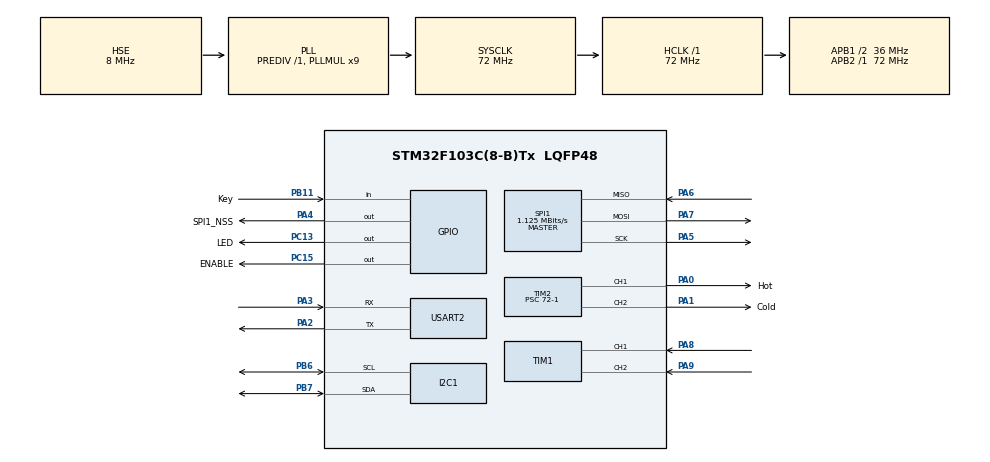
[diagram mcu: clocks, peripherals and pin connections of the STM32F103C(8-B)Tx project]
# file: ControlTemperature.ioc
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FREERTOS.Tasks01=OledTask,8,128,StartOledTask,As weak,NULL,Dynamic,NULL,NULL;PIDTask,40,128,StartPIDTask,As weak,NULL,Dynamic,NULL,NULL;CountTask,47,128,StartCountTask,As weak,NULL,Dynamic,NULL,NULL
I2C1.I2C_Mode=I2C_Fast
Mcu.Family=STM32F1
Mcu.Name=STM32F103C(8-B)Tx
Mcu.Package=LQFP48
NVIC.PriorityGroup=NVIC_PRIORITYGROUP_4
NVIC.TIM4_IRQn=true\:15\:0\:false\:false\:true\:false\:false\:true\:true
NVIC.TimeBase=TIM4_IRQn
NVIC.TimeBaseIP=TIM4
PA0-WKUP.GPIO_Label=Hot
PA0-WKUP.Signal=S_TIM2_CH1_ETR
PA1.GPIO_Label=Cold
PA1.Signal=S_TIM2_CH2
PA13.Mode=Serial_Wire
PA13.Signal=SYS_JTMS-SWDIO
PA14.Mode=Serial_Wire
PA14.Signal=SYS_JTCK-SWCLK
PA2.Mode=Asynchronous
PA2.Signal=USART2_TX
PA3.Mode=Asynchronous
PA3.Signal=USART2_RX
PA4.GPIO_Label=SPI1_NSS
PA4.Signal=GPIO_Output
PA5.Mode=Full_Duplex_Master
PA5.Signal=SPI1_SCK
PA6.GPIO_PuPd=GPIO_PULLUP
PA6.Mode=Full_Duplex_Master
PA6.Signal=SPI1_MISO
PA7.Mode=Full_Duplex_Master
PA7.Signal=SPI1_MOSI
PA8.GPIO_PuPd=GPIO_PULLUP
PA8.Signal=S_TIM1_CH1
PA9.GPIO_PuPd=GPIO_PULLUP
PA9.Signal=S_TIM1_CH2
PB11.GPIO_Label=Key
PB11.GPIO_PuPd=GPIO_PULLUP
PB11.Signal=GPIO_Input
PB6.Mode=I2C
PB6.Signal=I2C1_SCL
PB7.Mode=I2C
PB7.Signal=I2C1_SDA
PC13-TAMPER-RTC.GPIO_Label=LED
PC13-TAMPER-RTC.Signal=GPIO_Output
PC15-OSC32_OUT.GPIO_Label=ENABLE
PC15-OSC32_OUT.PinState=GPIO_PIN_SET
PC15-OSC32_OUT.Signal=GPIO_Output
PD0-OSC_IN.Mode=HSE-External-Oscillator
PD0-OSC_IN.Signal=RCC_OSC_IN
PD1-OSC_OUT.Mode=HSE-External-Oscillator
PD1-OSC_OUT.Signal=RCC_OSC_OUT
ProjectManager.HeapSize=0x200
ProjectManager.StackSize=0x400
ProjectManager.TargetToolchain=CMake
RCC.AHBFreq_Value=72000000
RCC.APB1CLKDivider=RCC_HCLK_DIV2
RCC.APB1Freq_Value=36000000
RCC.APB1TimFreq_Value=72000000
RCC.APB2Freq_Value=72000000
RCC.APB2TimFreq_Value=72000000
RCC.HCLKFreq_Value=72000000
RCC.PLLMUL=RCC_PLL_MUL9
RCC.PLLSourceVirtual=RCC_PLLSOURCE_HSE
RCC.SYSCLKFreq_VALUE=72000000
RCC.SYSCLKSource=RCC_SYSCLKSOURCE_PLLCLK
RCC.USBFreq_Value=72000000
SH.S_TIM1_CH1.0=TIM1_CH1,Encoder_Interface
SH.S_TIM1_CH2.0=TIM1_CH2,Encoder_Interface
SH.S_TIM2_CH1_ETR.0=TIM2_CH1,PWM Generation1 CH1
SH.S_TIM2_CH2.0=TIM2_CH2,PWM Generation2 CH2
SPI1.BaudRatePrescaler=SPI_BAUDRATEPRESCALER_64
SPI1.CalculateBaudRate=1.125 MBits/s
SPI1.Direction=SPI_DIRECTION_2LINES
SPI1.Mode=SPI_MODE_MASTER
SPI1.VirtualType=VM_MASTER
TIM1.EncoderMode=TIM_ENCODERMODE_TI12
TIM1.IC1Filter=15
TIM1.IC2Filter=15
TIM2.Channel-PWM\ Generation1\ CH1=TIM_CHANNEL_1
TIM2.Channel-PWM\ Generation2\ CH2=TIM_CHANNEL_2
TIM2.Period=1000-1
TIM2.Prescaler=72-1
USART2.VirtualMode=VM_ASYNC
VP_FREERTOS_VS_CMSIS_V2.Mode=CMSIS_V2
VP_SYS_VS_tim4.Mode=TIM4
VP_TIM2_VS_ClockSourceINT.Mode=Internal
board=custom

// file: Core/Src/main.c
/* USER CODE BEGIN Header */
/**
  ******************************************************************************
  * @file           : main.c
  * @brief          : Main program body
  ******************************************************************************
  * @attention
  *
  * Copyright (c) 2026 STMicroelectronics.
  * All rights reserved.
  *
  * This software is licensed under terms that can be found in the LICENSE file
  * in the root directory of this software component.
  * If no LICENSE file comes with this software, it is provided AS-IS.
  *
  ******************************************************************************
  */
/* USER CODE END Header */
#include "main.h"

#include <stdio.h>

#include "cmsis_os.h"
#include "i2c.h"
#include "spi.h"
#include "tim.h"
#include "usart.h"
#include "gpio.h"

/* USER CODE BEGIN PV */
volatile uint8_t targetTemp = 40;
volatile double realTemp = 0.00;
PID_TypeDef pid;
/* USER CODE END PV */

void SystemClock_Config(void);
void MX_FREERTOS_Init(void);

/* USER CODE BEGIN 0 */
int _write(int file, char *ptr, int len) {
  // HAL_MAX_DELAY 表示一直等待直到发送完成
  HAL_UART_Transmit(&huart2, (uint8_t*)ptr, len, HAL_MAX_DELAY);
  return len;
}

void Project_Init()
{
  HAL_Delay(20);
  OLED_Init();

  MAX31855_Init(&MAX31855_Handle, &hspi1,SPI1_NSS_GPIO_Port, SPI1_NSS_Pin);

  HAL_TIM_Encoder_Start(&htim1, TIM_CHANNEL_ALL);

  HAL_TIM_PWM_Start(&htim2, TIM_CHANNEL_1);
  HAL_TIM_PWM_Start(&htim2, TIM_CHANNEL_2);

  __HAL_TIM_SET_COMPARE(&htim2, TIM_CHANNEL_1, 0);
  __HAL_TIM_SET_COMPARE(&htim2, TIM_CHANNEL_2, 0);

  PID_Init();
  HAL_Delay(500);                   // 等待温度均匀

}
/* USER CODE END 0 */

int main(void)
{

  /* USER CODE BEGIN 1 */
  setvbuf(stdout, NULL, _IONBF, 0);
  /* USER CODE END 1 */

  /* MCU Configuration--------------------------------------------------------*/

  /* Reset of all peripherals, Initializes the Flash interface and the Systick. */
  HAL_Init();

  /* Configure the system clock */
  SystemClock_Config();

  /* Initialize all configured peripherals */
  MX_GPIO_Init();
  MX_I2C1_Init();
  MX_TIM1_Init();
  MX_SPI1_Init();
  MX_TIM2_Init();
  MX_USART2_UART_Init();
  /* USER CODE BEGIN 2 */
  Project_Init();
  /* USER CODE END 2 */

  /* Init scheduler */
  osKernelInitialize();  /* Call init function for freertos objects (in cmsis_os2.c) */
  MX_FREERTOS_Init();

  /* Start scheduler */
  osKernelStart();

  /* We should never get here as control is now taken by the scheduler */

  /* Infinite loop */
  while (1)
  {

  }
}

void SystemClock_Config(void)
{
  RCC_OscInitTypeDef RCC_OscInitStruct = {0};
  RCC_ClkInitTypeDef RCC_ClkInitStruct = {0};

  /** Initializes the RCC Oscillators according to the specified parameters
  * in the RCC_OscInitTypeDef structure.
  */
  RCC_OscInitStruct.OscillatorType = RCC_OSCILLATORTYPE_HSE;
  RCC_OscInitStruct.HSEState = RCC_HSE_ON;
  RCC_OscInitStruct.HSEPredivValue = RCC_HSE_PREDIV_DIV1;
  RCC_OscInitStruct.HSIState = RCC_HSI_ON;
  RCC_OscInitStruct.PLL.PLLState = RCC_PLL_ON;
  RCC_OscInitStruct.PLL.PLLSource = RCC_PLLSOURCE_HSE;
  RCC_OscInitStruct.PLL.PLLMUL = RCC_PLL_MUL9;
  if (HAL_RCC_OscConfig(&RCC_OscInitStruct) != HAL_OK)
  {
    Error_Handler();
  }

  /** Initializes the CPU, AHB and APB buses clocks
  */
  RCC_ClkInitStruct.ClockType = RCC_CLOCKTYPE_HCLK|RCC_CLOCKTYPE_SYSCLK
                              |RCC_CLOCKTYPE_PCLK1|RCC_CLOCKTYPE_PCLK2;
  RCC_ClkInitStruct.SYSCLKSource = RCC_SYSCLKSOURCE_PLLCLK;
  RCC_ClkInitStruct.AHBCLKDivider = RCC_SYSCLK_DIV1;
  RCC_ClkInitStruct.APB1CLKDivider = RCC_HCLK_DIV2;
  RCC_ClkInitStruct.APB2CLKDivider = RCC_HCLK_DIV1;

  if (HAL_RCC_ClockConfig(&RCC_ClkInitStruct, FLASH_LATENCY_2) != HAL_OK)
  {
    Error_Handler();
  }
}

void HAL_TIM_PeriodElapsedCallback(TIM_HandleTypeDef *htim)
{
  if (htim->Instance == TIM4)
  {
    HAL_IncTick();
  }
}

void Error_Handler(void)
{
  __disable_irq();
  while (1)
  {
  }
}

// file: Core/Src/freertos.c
/* USER CODE BEGIN Header */
/**
  ******************************************************************************
  * File Name          : freertos.c
  * Description        : Code for freertos applications
  ******************************************************************************
  * @attention
  *
  * Copyright (c) 2026 STMicroelectronics.
  * All rights reserved.
  *
  * This software is licensed under terms that can be found in the LICENSE file
  * in the root directory of this software component.
  * If no LICENSE file comes with this software, it is provided AS-IS.
  *
  ******************************************************************************
  */
/* USER CODE END Header */

#include "FreeRTOS.h"
#include "task.h"
#include "main.h"
#include "cmsis_os.h"

/* Definitions for OledTask */
osThreadId_t OledTaskHandle;
const osThreadAttr_t OledTask_attributes = {
  .name = "OledTask",
  .stack_size = 256 * 4,
  .priority = (osPriority_t) osPriorityLow,
};
/* Definitions for PIDTask */
osThreadId_t PIDTaskHandle;
const osThreadAttr_t PIDTask_attributes = {
  .name = "PIDTask",
  .stack_size = 256 * 4,
  .priority = (osPriority_t) osPriorityHigh,
};
/* Definitions for CountTask */
osThreadId_t CountTaskHandle;
const osThreadAttr_t CountTask_attributes = {
  .name = "CountTask",
  .stack_size = 192 * 4,
  .priority = (osPriority_t) osPriorityHigh7,
};

void StartOledTask(void *argument);
void StartPIDTask(void *argument);
void StartCountTask(void *argument);

void MX_FREERTOS_Init(void); /* (MISRA C 2004 rule 8.1) */

void MX_FREERTOS_Init(void) {

  /* Create the thread(s) */
  /* creation of OledTask */
  OledTaskHandle = osThreadNew(StartOledTask, NULL, &OledTask_attributes);

  /* creation of PIDTask */
  PIDTaskHandle = osThreadNew(StartPIDTask, NULL, &PIDTask_attributes);

  /* creation of CountTask */
  CountTaskHandle = osThreadNew(StartCountTask, NULL, &CountTask_attributes);

}

__weak void StartOledTask(void *argument)
{
  for(;;)
  {
    osDelay(1);
  }
}

__weak void StartPIDTask(void *argument)
{
  for(;;)
  {
    osDelay(1);
  }
}

__weak void StartCountTask(void *argument)
{
  for(;;)
  {
    osDelay(1);
  }
}
